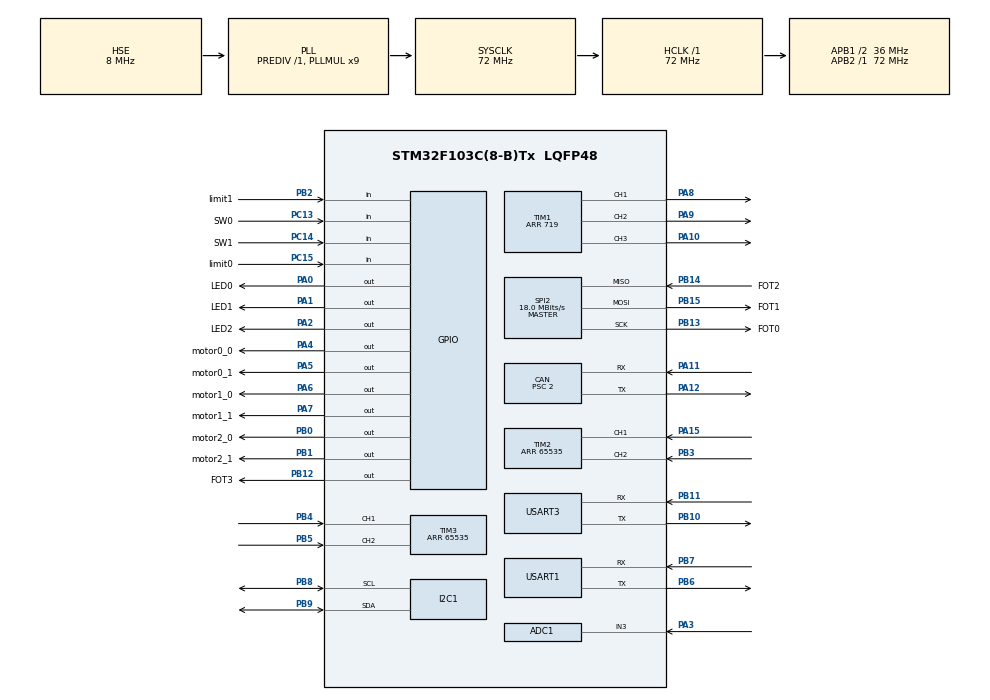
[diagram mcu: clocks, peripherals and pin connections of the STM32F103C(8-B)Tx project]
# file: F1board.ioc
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ADC1.Channel-57\#ChannelRegularConversion=ADC_CHANNEL_3
ADC1.NbrOfConversionFlag=1
ADC1.Rank-57\#ChannelRegularConversion=1
ADC1.SamplingTime-57\#ChannelRegularConversion=ADC_SAMPLETIME_1CYCLE_5
ADC1.master=1
CAN.BS1=CAN_BS1_14TQ
CAN.BS2=CAN_BS2_3TQ
CAN.CalculateTimeBit=166
CAN.CalculateTimeQuantum=55.55555555555556
CAN.Prescaler=2
Mcu.Family=STM32F1
Mcu.Name=STM32F103C(8-B)Tx
Mcu.Package=LQFP48
NVIC.PriorityGroup=NVIC_PRIORITYGROUP_4
PA0-WKUP.GPIO_Label=LED0
PA0-WKUP.PinState=GPIO_PIN_SET
PA0-WKUP.Signal=GPIO_Output
PA1.GPIO_Label=LED1
PA1.PinState=GPIO_PIN_SET
PA1.Signal=GPIO_Output
PA10.Signal=S_TIM1_CH3
PA11.Mode=Master
PA11.Signal=CAN_RX
PA12.Mode=Master
PA12.Signal=CAN_TX
PA13.Mode=Serial_Wire
PA13.Signal=SYS_JTMS-SWDIO
PA14.Mode=Serial_Wire
PA14.Signal=SYS_JTCK-SWCLK
PA15.Signal=S_TIM2_CH1_ETR
PA2.GPIO_Label=LED2
PA2.PinState=GPIO_PIN_SET
PA2.Signal=GPIO_Output
PA3.Signal=ADCx_IN3
PA4.GPIO_Label=motor0_0
PA4.Signal=GPIO_Output
PA5.GPIO_Label=motor0_1
PA5.Signal=GPIO_Output
PA6.GPIO_Label=motor1_0
PA6.Signal=GPIO_Output
PA7.GPIO_Label=motor1_1
PA7.Signal=GPIO_Output
PA8.Signal=S_TIM1_CH1
PA9.Signal=S_TIM1_CH2
PB0.GPIO_Label=motor2_0
PB0.Signal=GPIO_Output
PB1.GPIO_Label=motor2_1
PB1.Signal=GPIO_Output
PB10.Mode=Asynchronous
PB10.Signal=USART3_TX
PB11.Mode=Asynchronous
PB11.Signal=USART3_RX
PB12.GPIO_Label=FOT3
PB12.Signal=GPIO_Output
PB13.GPIO_Label=FOT0
PB13.Mode=Full_Duplex_Master
PB13.Signal=SPI2_SCK
PB14.GPIO_Label=FOT2
PB14.Mode=Full_Duplex_Master
PB14.Signal=SPI2_MISO
PB15.GPIO_Label=FOT1
PB15.Mode=Full_Duplex_Master
PB15.Signal=SPI2_MOSI
PB2.GPIO_Label=limit1
PB2.Signal=GPIO_Input
PB3.Signal=S_TIM2_CH2
PB4.Signal=S_TIM3_CH1
PB5.Signal=S_TIM3_CH2
PB6.Mode=Asynchronous
PB6.Signal=USART1_TX
PB7.Mode=Asynchronous
PB7.Signal=USART1_RX
PB8.Mode=I2C
PB8.Signal=I2C1_SCL
PB9.Mode=I2C
PB9.Signal=I2C1_SDA
PC13-TAMPER-RTC.GPIO_Label=SW0
PC13-TAMPER-RTC.Signal=GPIO_Input
PC14-OSC32_IN.GPIO_Label=SW1
PC14-OSC32_IN.Signal=GPIO_Input
PC15-OSC32_OUT.GPIO_Label=limit0
PC15-OSC32_OUT.Signal=GPIO_Input
PD0-OSC_IN.Mode=HSE-External-Oscillator
PD0-OSC_IN.Signal=RCC_OSC_IN
PD1-OSC_OUT.Mode=HSE-External-Oscillator
PD1-OSC_OUT.Signal=RCC_OSC_OUT
ProjectManager.HeapSize=0x200
ProjectManager.StackSize=0x400
ProjectManager.TargetToolchain=SW4STM32
RCC.ADCPresc=RCC_ADCPCLK2_DIV6
RCC.AHBFreq_Value=72000000
RCC.APB1CLKDivider=RCC_HCLK_DIV2
RCC.APB1Freq_Value=36000000
RCC.APB1TimFreq_Value=72000000
RCC.APB2Freq_Value=72000000
RCC.APB2TimFreq_Value=72000000
RCC.HCLKFreq_Value=72000000
RCC.PLLMUL=RCC_PLL_MUL9
RCC.PLLSourceVirtual=RCC_PLLSOURCE_HSE
RCC.SYSCLKFreq_VALUE=72000000
RCC.SYSCLKSource=RCC_SYSCLKSOURCE_PLLCLK
RCC.USBFreq_Value=72000000
SH.ADCx_IN3.0=ADC1_IN3,IN3
SH.S_TIM1_CH1.0=TIM1_CH1,PWM Generation1 CH1
SH.S_TIM1_CH2.0=TIM1_CH2,PWM Generation2 CH2
SH.S_TIM1_CH3.0=TIM1_CH3,Output Compare3 CH3
SH.S_TIM2_CH1_ETR.0=TIM2_CH1,Encoder_Interface
SH.S_TIM2_CH2.0=TIM2_CH2,Encoder_Interface
SH.S_TIM3_CH1.0=TIM3_CH1,Encoder_Interface
SH.S_TIM3_CH2.0=TIM3_CH2,Encoder_Interface
SPI2.CalculateBaudRate=18.0 MBits/s
SPI2.Direction=SPI_DIRECTION_2LINES
SPI2.Mode=SPI_MODE_MASTER
SPI2.VirtualType=VM_MASTER
TIM1.Channel-Output\ Compare3\ CH3=TIM_CHANNEL_3
TIM1.Channel-PWM\ Generation1\ CH1=TIM_CHANNEL_1
TIM1.Channel-PWM\ Generation2\ CH2=TIM_CHANNEL_2
TIM1.Period=719
TIM2.EncoderMode=TIM_ENCODERMODE_TI12
TIM2.Period=65535
TIM3.EncoderMode=TIM_ENCODERMODE_TI12
TIM3.Period=65535
USART1.VirtualMode=VM_ASYNC
USART3.VirtualMode=VM_ASYNC
board=F1board

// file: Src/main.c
/**
 ******************************************************************************
 * @file           : main.c
 * @brief          : Main program body
 ******************************************************************************
 ** This notice applies to any and all portions of this file
 * that are not between comment pairs USER CODE BEGIN and
 * USER CODE END. Other portions of this file, whether
 * inserted by the user or by software development tools
 * are owned by their respective copyright owners.
 *
 * COPYRIGHT(c) 2018 STMicroelectronics
 *
 * Redistribution and use in source and binary forms, with or without modification,
 * are permitted provided that the following conditions are met:
 *   1. Redistributions of source code must retain the above copyright notice,
 *      this list of conditions and the following disclaimer.
 *   2. Redistributions in binary form must reproduce the above copyright notice,
 *      this list of conditions and the following disclaimer in the documentation
 *      and/or other materials provided with the distribution.
 *   3. Neither the name of STMicroelectronics nor the names of its contributors
 *      may be used to endorse or promote products derived from this software
 *      without specific prior written permission.
 *
 * THIS SOFTWARE IS PROVIDED BY THE COPYRIGHT HOLDERS AND CONTRIBUTORS "AS IS"
 * AND ANY EXPRESS OR IMPLIED WARRANTIES, INCLUDING, BUT NOT LIMITED TO, THE
 * IMPLIED WARRANTIES OF MERCHANTABILITY AND FITNESS FOR A PARTICULAR PURPOSE ARE
 * DISCLAIMED. IN NO EVENT SHALL THE COPYRIGHT HOLDER OR CONTRIBUTORS BE LIABLE
 * FOR ANY DIRECT, INDIRECT, INCIDENTAL, SPECIAL, EXEMPLARY, OR CONSEQUENTIAL
 * DAMAGES (INCLUDING, BUT NOT LIMITED TO, PROCUREMENT OF SUBSTITUTE GOODS OR
 * SERVICES; LOSS OF USE, DATA, OR PROFITS; OR BUSINESS INTERRUPTION) HOWEVER
 * CAUSED AND ON ANY THEORY OF LIABILITY, WHETHER IN CONTRACT, STRICT LIABILITY,
 * OR TORT (INCLUDING NEGLIGENCE OR OTHERWISE) ARISING IN ANY WAY OUT OF THE USE
 * OF THIS SOFTWARE, EVEN IF ADVISED OF THE POSSIBILITY OF SUCH DAMAGE.
 *
 ******************************************************************************
 */
#include "main.h"
#include "stm32f1xx_hal.h"
#include "adc.h"
#include "can.h"
#include "i2c.h"
#include "spi.h"
#include "tim.h"
#include "usart.h"
#include "gpio.h"

/* USER CODE BEGIN PV */
/* Private variables ---------------------------------------------------------*/

#define START_LASER_MIN 100
#define START_LASER_MAX 200
#define GOAL_LASER_MIN 120
#define GOAL_LASER_MAX 200

#define SET_START_ZONE 		(StartLaserValue > START_LASER_MIN && StartLaserValue < START_LASER_MAX)
#define RESET_START_ZONE	(StartLaserValue > START_LASER_MAX)
#define SET_GOAL_ZONE 		(GoalLaserValue > GOAL_LASER_MIN && GoalLaserValue < GOAL_LASER_MAX)
#define RESET_GOAL_ZONE		(GoalLaserValue > GOAL_LASER_MAX)

/* USER CODE END PV */

void SystemClock_Config(void);

/* USER CODE BEGIN PFP */
/* Private function prototypes -----------------------------------------------*/

/* USER CODE END PFP */

int main(void) {

	/* MCU Configuration----------------------------------------------------------*/

	/* Reset of all peripherals, Initializes the Flash interface and the Systick. */
	HAL_Init();

	/* Configure the system clock */
	SystemClock_Config();

	/* Initialize all configured peripherals */
	MX_GPIO_Init();
	MX_TIM1_Init();
	MX_I2C1_Init();
	MX_USART1_UART_Init();
	MX_SPI2_Init();
	MX_CAN_Init();
	MX_USART3_UART_Init();
	MX_ADC1_Init();
	MX_TIM2_Init();
	MX_TIM3_Init();
	/* USER CODE BEGIN 2 */
	uint32_t ts = 0;
	uint32_t sendDataTs = 0;

	uint8_t txData;

	uint8_t waitStartFlag = 0;
	uint32_t startFlag = 0;
	uint32_t goalFlag = 0;

	uint32_t com_ts = 0;

	initCAN();

	uint32_t requestDataStartTs = HAL_GetTick();
	uint32_t requestDataGoalTs = HAL_GetTick() + 10;

	/* USER CODE END 2 */

	/* Infinite loop */
	/* USER CODE BEGIN WHILE */
	while (1) {
		if (ts < HAL_GetTick()) {
			LED0_TOGGLE;
			if (goalFlag) {
				ts = HAL_GetTick() + 20;
			} else if (startFlag) {
				ts = HAL_GetTick() + 100;
			} else if (waitStartFlag) {
				ts = HAL_GetTick() + 500;
			} else {
				ts = HAL_GetTick() + 1000;
			}

		}

		if (com_ts < HAL_GetTick()) {
			com_ts = HAL_GetTick() + 500;
			txData = 0x01;
			HAL_UART_Transmit(&huart3, &txData, 1, 10);
		}

		if (__HAL_UART_GET_FLAG(&huart3, UART_FLAG_RXNE)) {
			//Receive Start
			uint8_t rxData;
			HAL_UART_Receive(&huart3, &rxData, 1, 50);
			if (rxData == 0x10) {
				NVIC_SystemReset();
			}

		}

		if (requestDataStartTs < HAL_GetTick()) {
			requestDistance(0);
			requestDataStartTs = HAL_GetTick() + 20;
		}

		if (requestDataGoalTs < HAL_GetTick()) {
			requestDistance(1);
			requestDataGoalTs = HAL_GetTick() + 20;
		}

		if (checkCanRx()) {

		}

		if (sendDataTs < HAL_GetTick()) {
			if (SET_START_ZONE && waitStartFlag == 0 && startFlag == 0) {
				waitStartFlag = 1;
				txData = 0x02;
				HAL_UART_Transmit(&huart3, &txData, 1, 10);
			}

			if (RESET_START_ZONE && waitStartFlag == 1 && startFlag == 0) {
				waitStartFlag = 0;
				startFlag = 1;
			}

			if (startFlag) {
				if (startFlag++ < 200) {
					txData = 0x03;
					HAL_UART_Transmit(&huart3, &txData, 1, 10);
				} else {
					startFlag = 400;
				}

			}

			if (SET_GOAL_ZONE && startFlag > 200) {
				txData = 0x04;
				HAL_UART_Transmit(&huart3, &txData, 1, 10);
				goalFlag = 1;
			}

			if (IS_SW0_PUSHED && startFlag) {
				startFlag = 0;
				txData = 0x04;
				HAL_UART_Transmit(&huart3, &txData, 1, 10);
				goalFlag = 1;
			}

			if (goalFlag) {
				if (goalFlag++ < 10) {
					txData = 0x04;
					HAL_UART_Transmit(&huart3, &txData, 1, 10);
				} else {
					NVIC_SystemReset();
					goalFlag = 100;
				}
				startFlag = 0;
			}

//			if (IS_FOT2_ACTED && waitStartFlag == 0 && startFlag == 0) {
//				waitStartFlag = 1;
//				txData = 0x02;
//				HAL_UART_Transmit(&huart3, &txData, 1, 10);
//			}
//
//			if (IS_NOT_FOT2_ACTED && waitStartFlag == 1 && startFlag == 0) {
//				waitStartFlag = 0;
//				startFlag = 1;
//			}
//
//			if (startFlag) {
//				if (startFlag++ < 10) {
//					txData = 0x03;
//					HAL_UART_Transmit(&huart3, &txData, 1, 10);
//				} else {
//					startFlag = 100;
//				}
//
//			}
//
//			if (IS_FOT1_ACTED && startFlag) {
//				txData = 0x04;
//				HAL_UART_Transmit(&huart3, &txData, 1, 10);
//				goalFlag = 1;
//			}
//
//			if (IS_SW0_PUSHED && startFlag) {
//				startFlag = 0;
//				txData = 0x04;
//				HAL_UART_Transmit(&huart3, &txData, 1, 10);
//				goalFlag = 1;
//			}
//
//			if (goalFlag) {
//				if (goalFlag++ < 10) {
//					txData = 0x04;
//					HAL_UART_Transmit(&huart3, &txData, 1, 10);
//				} else {
//					NVIC_SystemReset();
//					goalFlag = 100;
//				}
//				startFlag = 0;
//			}

			sendDataTs = HAL_GetTick() + 20;
		}

//		if (IS_FOT2_ACTED) {
//			LED1_ON;
//		} else {
//			LED1_OFF;
//		}
//		if (IS_FOT1_ACTED) {
//			LED2_ON;
//		} else {
//			LED2_OFF;
//		}

		if (SET_START_ZONE) {
			LED1_ON;
		} else {
			LED1_OFF;
		}
		if (SET_GOAL_ZONE) {
			LED2_ON;
		} else {
			LED2_OFF;
		}

		/* USER CODE END WHILE */

	}

}

void SystemClock_Config(void) {

	RCC_OscInitTypeDef RCC_OscInitStruct;
	RCC_ClkInitTypeDef RCC_ClkInitStruct;
	RCC_PeriphCLKInitTypeDef PeriphClkInit;

	/**Initializes the CPU, AHB and APB busses clocks
	 */
	RCC_OscInitStruct.OscillatorType = RCC_OSCILLATORTYPE_HSE;
	RCC_OscInitStruct.HSEState = RCC_HSE_ON;
	RCC_OscInitStruct.HSEPredivValue = RCC_HSE_PREDIV_DIV1;
	RCC_OscInitStruct.HSIState = RCC_HSI_ON;
	RCC_OscInitStruct.PLL.PLLState = RCC_PLL_ON;
	RCC_OscInitStruct.PLL.PLLSource = RCC_PLLSOURCE_HSE;
	RCC_OscInitStruct.PLL.PLLMUL = RCC_PLL_MUL9;
	if (HAL_RCC_OscConfig(&RCC_OscInitStruct) != HAL_OK) {
		_Error_Handler(__FILE__, __LINE__);
	}

	/**Initializes the CPU, AHB and APB busses clocks
	 */
	RCC_ClkInitStruct.ClockType = RCC_CLOCKTYPE_HCLK | RCC_CLOCKTYPE_SYSCLK
			| RCC_CLOCKTYPE_PCLK1 | RCC_CLOCKTYPE_PCLK2;
	RCC_ClkInitStruct.SYSCLKSource = RCC_SYSCLKSOURCE_PLLCLK;
	RCC_ClkInitStruct.AHBCLKDivider = RCC_SYSCLK_DIV1;
	RCC_ClkInitStruct.APB1CLKDivider = RCC_HCLK_DIV2;
	RCC_ClkInitStruct.APB2CLKDivider = RCC_HCLK_DIV1;

	if (HAL_RCC_ClockConfig(&RCC_ClkInitStruct, FLASH_LATENCY_2) != HAL_OK) {
		_Error_Handler(__FILE__, __LINE__);
	}

	PeriphClkInit.PeriphClockSelection = RCC_PERIPHCLK_ADC;
	PeriphClkInit.AdcClockSelection = RCC_ADCPCLK2_DIV6;
	if (HAL_RCCEx_PeriphCLKConfig(&PeriphClkInit) != HAL_OK) {
		_Error_Handler(__FILE__, __LINE__);
	}

	/**Configure the Systick interrupt time
	 */
	HAL_SYSTICK_Config(HAL_RCC_GetHCLKFreq() / 1000);

	/**Configure the Systick
	 */
	HAL_SYSTICK_CLKSourceConfig(SYSTICK_CLKSOURCE_HCLK);

	/* SysTick_IRQn interrupt configuration */
	HAL_NVIC_SetPriority(SysTick_IRQn, 0, 0);
}

void _Error_Handler(char *file, int line) {
	while (1) {
	}
}

/************************ (C) COPYRIGHT STMicroelectronics *****END OF FILE****/
